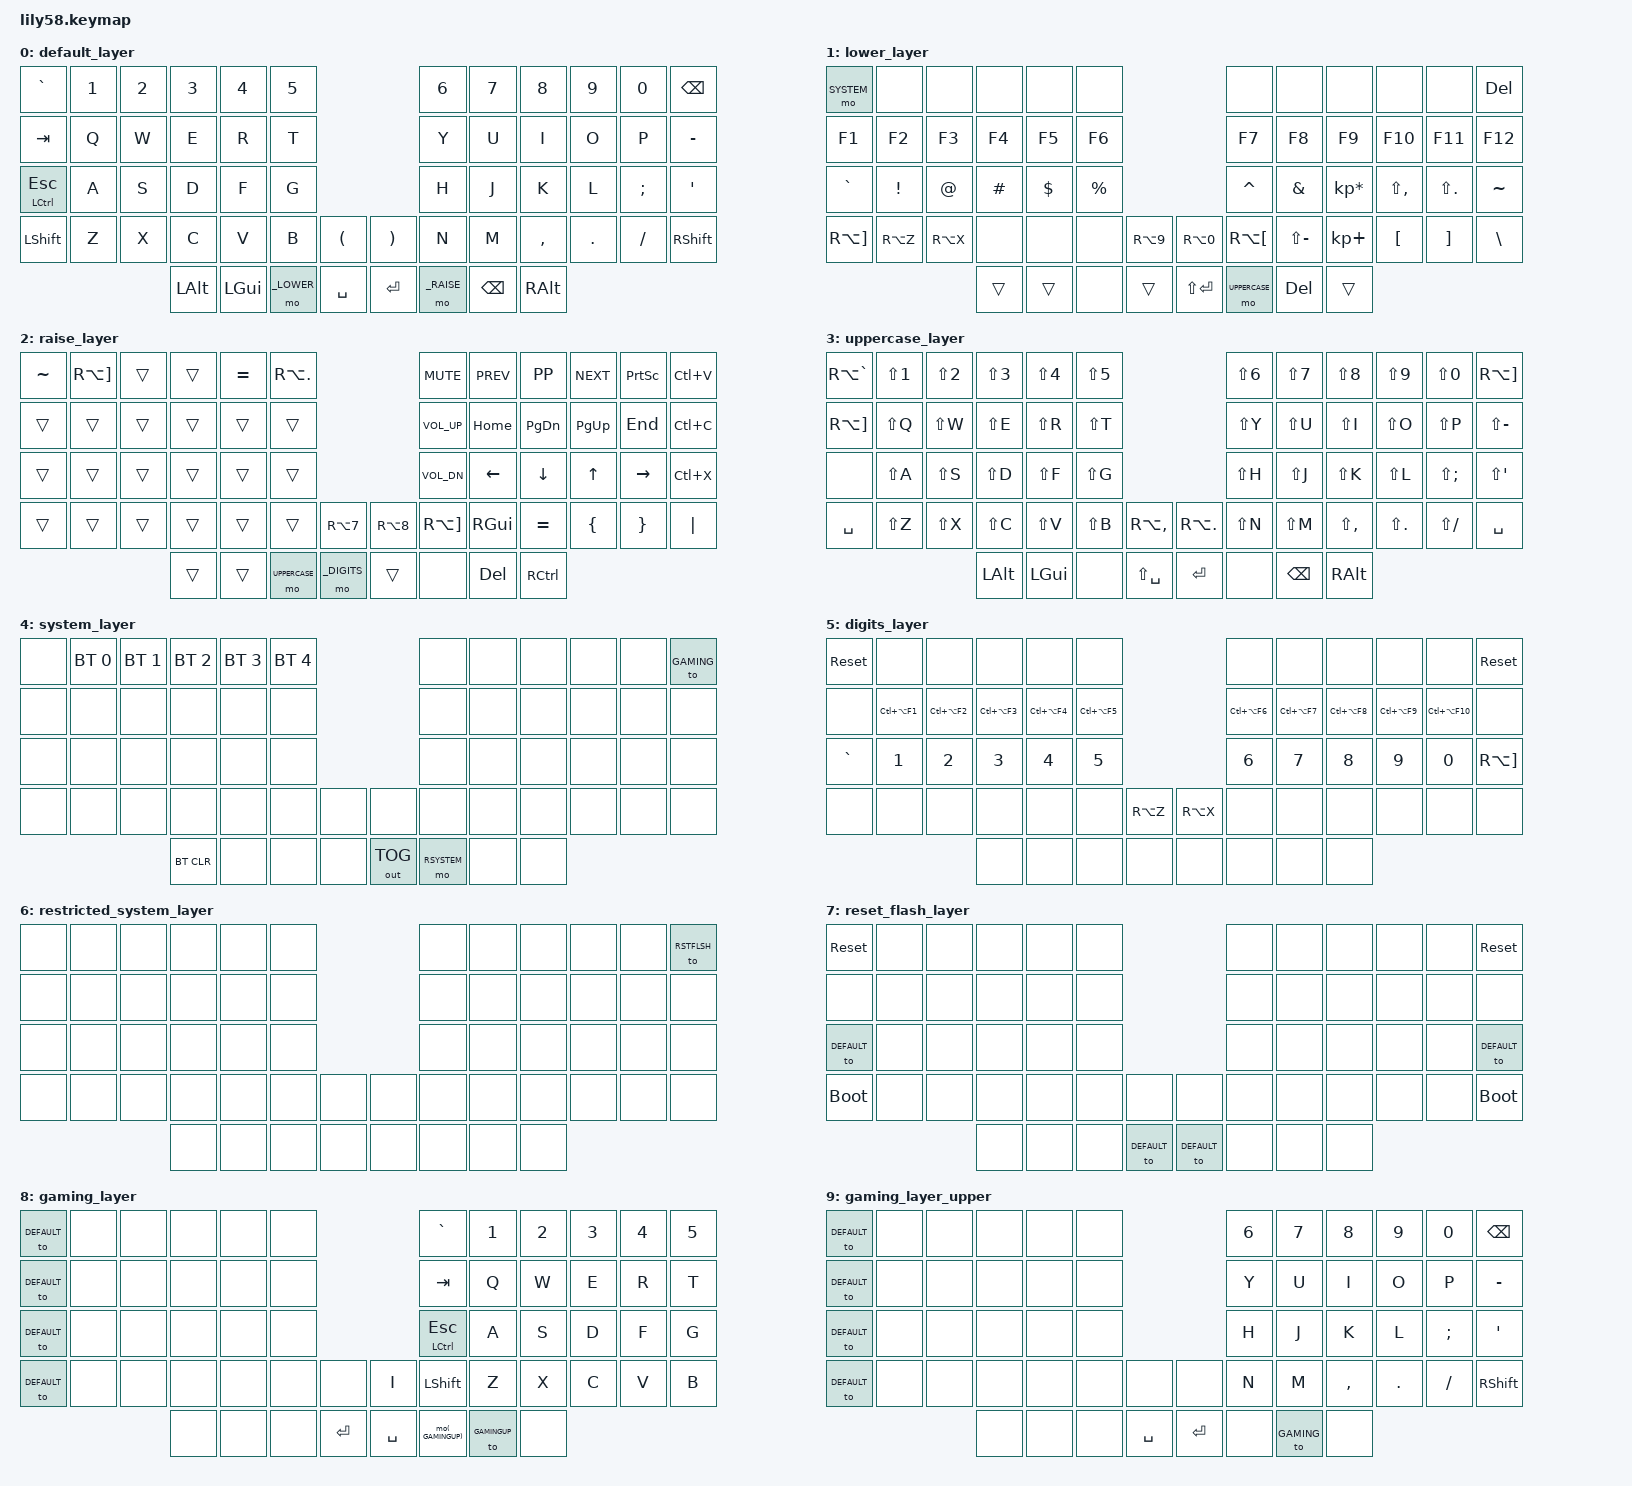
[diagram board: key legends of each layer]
/*
 * Copyright (c) 2020 The ZMK Contributors
 *
 * SPDX-License-Identifier: MIT
 */

#include <behaviors.dtsi>
#include <dt-bindings/zmk/keys.h>
#include <dt-bindings/zmk/bt.h>
#include <dt-bindings/zmk/ext_power.h>
#include <dt-bindings/zmk/outputs.h>

// Layers
#define _DEFAULT	0
#define _LOWER		1
#define _RAISE		2
#define _UPPERCASE	3
#define _SYSTEM		4
#define _DIGITS		5
#define _RSYSTEM	6
#define _RSTFLSH	7
#define _GAMING		8
#define _GAMINGUP	9

/ {
	keymap {
		compatible = "zmk,keymap";

/* default_layer | _DEFAULT
 * ,-----------------------------------------.                    ,-----------------------------------------.
 * |  /   |   1  |   2  |   3  |   4  |   5  |                    |   6  |   7  |   8  |   9  |   0  | BSPC |
 * |------+------+------+------+------+------|                    |------+------+------+------+------+------|
 * | Tab  |   q  |   w  |   e  |   r  |   t  |                    |   y  |   u  |   i  |   o  |   p  |  -   |
 * |------+------+------+------+------+------|                    |------+------+------+------+------+------|
 * | ***1 |   a  |   s  |   d  |   f  |   g  |-------.    ,-------|   h  |   j  |   k  |   l  |   ;  |  è   |
 * |------+------+------+------+------+------|   (   |    |    )  |------+------+------+------+------+------|
 * |LShift|   z  |   x  |   c  |   v  |   b  |-------|    |-------|   n  |   m  |   ,  |   .  |   é  |RShift|
 * `-----------------------------------------/       /     \      \-----------------------------------------'
 *                   | LAlt | LGUI |LOWER | /Space  /       \Enter \  |RAISE |BackSP| RALT |
 *                   |      |      |      |/       /         \      \ |      |      |      |
 *                   `----------------------------'           '------''--------------------'
 * ***1: LCTRL when held, ESC when tapped
 */
 		default_layer {
			bindings = <
&kp GRAVE		&kp N1	&kp N2	&kp N3		&kp N4		&kp N5							&kp N6      &kp N7   &kp N8    &kp N9  &kp N0   &kp BSPC
&kp TAB			&kp Q 	&kp W 	&kp E		&kp R 		&kp T							&kp Y       &kp U    &kp I     &kp O   &kp P    &kp MINUS
&mt LCTRL ESC	&kp A 	&kp S 	&kp D		&kp F 		&kp G							&kp H       &kp J    &kp K     &kp L   &kp SEMI &kp SQT
&kp LSHFT		&kp Z 	&kp X 	&kp C		&kp V 		&kp B       &kp LPAR   &kp RPAR &kp N       &kp M    &kp COMMA &kp DOT &kp FSLH &kp RSHFT
                				&kp LALT	&kp LGUI	&mo _LOWER  &kp SPACE  &kp RET  &mo _RAISE  &kp BSPC &kp RALT
			>;
		};
/* lower_layer | _LOWER 
 * ,-----------------------------------------.                    ,-----------------------------------------.
 * |SYSTEM|      |      |      |      |      |                    |      |      |      |      |      |DELETE|
 * |------+------+------+------+------+------|                    |------+------+------+------+------+------|
 * |  F1  |  F2  |  F3  |  F4  |  F5  |  F6  |                    |  F7  |  F8  |  F9  | F10  | F11  | F12  |
 * |------+------+------+------+------+------|                    |------+------+------+------+------+------|
 * |   /  |   !  |   @  |   #  |   $  |   %  |-------.    ,-------|   ?  |   &  |   *  |   '  |   "  |   \  |
 * |------+------+------+------+------+------|   [   |    |    ]  |------+------+------+------+------+------|
 * |   ~  |   «  |   »  |      |      |      |-------|    |-------|   `  |   _  |   +  |   ^  |   ç  |   à  |
 * `-----------------------------------------/       /     \      \-----------------------------------------'
 *                   |      |      |      | /       /       \SEnter\  |UPPER |DELETE| RALT |
 *                   |      |      |      |/       /         \      \ | -CASE|      |      |
 *                   `----------------------------'           '------''--------------------'
 */
		lower_layer {
			bindings = <
&mo _SYSTEM		&none		&none		&none		&none		&none									&none			&none			&none			&none			&none		&kp DELETE
&kp F1			&kp F2      &kp F3		&kp F4		&kp F5		&kp F6									&kp F7			&kp F8			&kp F9			&kp F10			&kp F11		&kp F12
&kp GRAVE		&kp EXCL    &kp AT		&kp HASH	&kp DOLLAR	&kp PRCNT								&kp CARET		&kp AMPS		&kp KP_MULTIPLY	&kp LS(COMMA)	&kp LS(DOT)	&kp TILDE
&kp RA(RBKT)	&kp RA(Z)	&kp RA(X)	&none		&none		&none		&kp RA(N9)	&kp RA(N0)		&kp RA(LBKT)	&kp LS(MINUS)	&kp KP_PLUS		&kp LBKT		&kp RBKT  	&kp BSLH
                                        &trans		&trans		&none		&trans   	&kp LS(ENTER)	&mo _UPPERCASE	&kp DEL			&trans
			>;
		};
/* raise_layer | _RAISE
 * ,-----------------------------------------.                    ,-----------------------------------------.
 * |   \  |   ~  |      |      |   =  |   >  |                    | Mute | Prev | Play | Next |PRTSCR|Ctrl+V|
 * |------+------+------+------+------+------|                    |------+------+------+------+------+------|
 * |      |      |      |      |      |      |                    | Vol+ | HOME | PgDn | PgUp | END  |Ctrl+C|
 * |------+------+------+------+------+------|                    |------+------+------+------+------+------|
 * |      |      |      |      |      |      |-------.    ,-------| Vol- | Left | Down |  Up  | Right|Ctrl+X|
 * |------+------+------+------+------+------|   {   |    |    }  |------+------+------+------+------+------|
 * |      |      |      |      |      |      |-------|    |-------|   ~  | RGUI |   =  |   ¨  |   Ç  |   À  |
 * `-----------------------------------------/       /     \      \-----------------------------------------'
 *                   |      |      |UPPER | /       /       \      \  |      |DELETE| RCTL |
 *                   |      |      | -CASE|/       /         \      \ |      |      |      |
 *                   `----------------------------'           '------''--------------------'
 */
		raise_layer {
			bindings = <
&kp TILDE	&kp RA(RBKT)	&trans	&trans	&kp EQUAL	&kp RA(DOT)								&kp K_MUTE		&kp K_PREV	&kp K_PP	&kp K_NEXT	&kp PSCRN	&kp LC(V)
&trans		&trans			&trans	&trans	&trans		&trans									&kp K_VOL_UP	&kp HOME	&kp PG_DN	&kp PG_UP	&kp END		&kp LC(C)
&trans		&trans			&trans	&trans	&trans		&trans									&kp K_VOL_DN	&kp LEFT	&kp DOWN	&kp UP		&kp RIGHT	&kp LC(X)
&trans		&trans			&trans	&trans	&trans		&trans			&kp RA(N7)	&kp RA(N8)	&kp RA(RBKT)	&kp RGUI	&kp EQUAL	&kp LBRC	&kp RBRC	&kp PIPE
            	            		&trans	&trans		&mo _UPPERCASE	&mo _DIGITS	&trans		&none			&kp DEL		&kp RCTRL
			>;
		};
/* uppercase
 * ,-----------------------------------------.                    ,-----------------------------------------.
 * |   |  |   !  |   @  |   #  |   $  |   %  |                    |   ?  |   &  |   *  |   (  |   )  |  ~   |
 * |------+------+------+------+------+------|                    |------+------+------+------+------+------|
 * |   ~  |   Q  |   W  |   E  |   R  |   T  |                    |   Y  |   U  |   I  |   O  |   P  |  _   |
 * |------+------+------+------+------+------|                    |------+------+------+------+------+------|
 * |      |   A  |   S  |   D  |   F  |   G  |-------.    ,-------|   H  |   J  |   K  |   L  |   :  |  È   |
 * |------+------+------+------+------+------|   <   |    |    >  |------+------+------+------+------+------|
 * |Space |   Z  |   X  |   C  |   V  |   B  |-------|    |-------|   N  |   M  |   '  |   "  |   É  |Space |
 * `-----------------------------------------/       /     \      \-----------------------------------------'
 *                   | LAlt | LGUI |LOWER | /Space  /       \Enter \  |RAISE |BackSP| RALT |
 *                   |      |      |      |/       /         \      \ |      |      |      |
 *                   `----------------------------'           '------''--------------------'
 */
		uppercase_layer {
			bindings = <
&kp RA(GRAVE)	&kp LS(N1)	&kp LS(N2)	&kp LS(N3)	&kp LS(N4)	&kp LS(N5)								&kp LS(N6)	&kp LS(N7)	&kp LS(N8)		&kp LS(N9)		&kp LS(N0)		&kp RA(RBKT)
&kp RA(RBKT)	&kp LS(Q)	&kp LS(W)	&kp LS(E)	&kp LS(R)	&kp LS(T)								&kp LS(Y)	&kp LS(U)	&kp LS(I)		&kp LS(O)		&kp LS(P)		&kp LS(MINUS)
&none			&kp LS(A)	&kp LS(S)	&kp LS(D)	&kp LS(F)	&kp LS(G)								&kp LS(H)	&kp LS(J)	&kp LS(K)		&kp LS(L)		&kp LS(SEMI)	&kp LS(SQT)
&kp SPACE		&kp LS(Z)	&kp LS(X)	&kp LS(C)	&kp LS(V)	&kp LS(B)	&kp RA(COMMA)	&kp RA(DOT)	&kp LS(N)	&kp LS(M)	&kp LS(COMMA)	&kp LS(DOT)		&kp LS(FSLH)	&kp SPACE
                    					&kp LALT	&kp LGUI	&none		&kp LS(SPACE)	&kp RET		&none		&kp BSPC	&kp RALT
			>;
		};
/* system_layer
 * ,-----------------------------------------.                    ,-----------------------------------------.
 * |      |  BT0 |  BT1 |  BT2 |  BT3 |  BT4 |                    |      |      |      |      |      |      |
 * |------+------+------+------+------+------|                    |------+------+------+------+------+------|
 * |      |      |      |      |      |      |                    |      |      |      |      |      |      |
 * |------+------+------+------+------+------|                    |------+------+------+------+------+------|
 * |      |      |      |      |      |      |-------.    ,-------|      |      |      |      |      |      |
 * |------+------+------+------+------+------|       |    |       |------+------+------+------+------+------|
 * |      |      |      |      |      |      |-------|    |-------|      |      |      |      |      |      |
 * `-----------------------------------------/       /     \TOGGLE\-----------------------------------------'
 *                   |BT_CLR|      |      | /       /       \  BT  \  |RSTRCT|      |      |
 *                   |      |      |      |/       /         \  USB \ |SYSTEM|      |      |
 *                   `----------------------------'           '------''--------------------'
 */
		system_layer {
			bindings = <
&none	&bt BT_SEL 0    &bt BT_SEL 1	&bt BT_SEL 2	&bt BT_SEL 3	&bt BT_SEL 4							&none			&none	&none	&none	&none	&to _GAMING
&none	&none			&none			&none			&none			&none									&none			&none	&none	&none	&none	&none
&none	&none			&none			&none			&none			&none									&none			&none	&none	&none	&none	&none
&none	&none			&none			&none			&none			&none			&none	&none			&none			&none	&none	&none	&none	&none
	      	        					&bt BT_CLR		&none			&none			&none	&out OUT_TOG	&mo _RSYSTEM	&none	&none
			>;
		};
/* digits_layer
 * ,-----------------------------------------.                    ,-----------------------------------------.
 * |RESET |      |      |      |      |      |                    |      |      |      |      |      | RESET|
 * |------+------+------+------+------+------|                    |------+------+------+------+------+------|
 * |      | TTY1 | TTY2 | TTY3 | TTY4 | TTY5 |                    | TTY6 | TTY7 | TTY8 | TTY9 | TTY0 |      |
 * |------+------+------+------+------+------|                    |------+------+------+------+------+------|
 * |   /  |   1  |   2  |   3  |   4  |   5  |-------.    ,-------|   6  |   7  |   8  |   9  |   0  |   ~  |
 * |------+------+------+------+------+------|   «   |    |   »   |------+------+------+------+------+------|
 * |      |      |      |      |      |      |-------|    |-------|      |      |      |      |      |      |
 * `-----------------------------------------/       /     \      \-----------------------------------------'
 *                   |      |      |      | /       /       \      \  |      |      |      |
 *                   |      |      |      |/       /         \      \ |      |      |      |
 *                   `----------------------------'           '------''--------------------'
 */
		digits_layer {
			bindings = <
&sys_reset	&none			&none			&none			&none			&none									&none			&none			&none			&none			&none			&sys_reset
&none 		&kp LC(LA(F1))	&kp LC(LA(F2))	&kp LC(LA(F3))	&kp LC(LA(F4))	&kp LC(LA(F5)) 							&kp LC(LA(F6))	&kp LC(LA(F7))	&kp LC(LA(F8))	&kp LC(LA(F9))	&kp LC(LA(F10))	&none
&kp GRAVE	&kp N1			&kp N2			&kp N3			&kp N4			&kp N5									&kp N6			&kp N7			&kp N8			&kp N9  		&kp N0			&kp RA(RBKT)
&none		&none			&none			&none			&none			&none			&kp RA(Z)	&kp RA(X)	&none			&none			&none			&none			&none			&none
            	        					&none			&none			&none			&none		&none		&none			&none			&none
			>;
		};
/* restricted_system_layer
 * ,-----------------------------------------.                    ,-----------------------------------------.
 * |      |      |      |      |      |      |                    |      |      |      |      |      |RSTFLS|
 * |------+------+------+------+------+------|                    |------+------+------+------+------+------|
 * |      |      |      |      |      |      |                    |      |      |      |      |      |      |
 * |------+------+------+------+------+------|                    |------+------+------+------+------+------|
 * |      |      |      |      |      |      |-------.    ,-------|      |      |      |      |      |      |
 * |------+------+------+------+------+------|       |    |       |------+------+------+------+------+------|
 * |      |      |      |      |      |      |-------|    |-------|      |      |      |      |      |      |
 * `-----------------------------------------/       /     \      \-----------------------------------------'
 *                   |      |      |      | /       /       \      \  |      |      |      |
 *                   |      |      |      |/       /         \      \ |      |      |      |
 *                   `----------------------------'           '------''--------------------'
 */
		restricted_system_layer {
			bindings = <
&none	&none	&none	&none	&none	&none					&none	&none	&none		&none	&none	&to _RSTFLSH
&none	&none	&none	&none	&none	&none					&none	&none	&none		&none	&none	&none
&none	&none	&none	&none	&none	&none					&none	&none	&none		&none	&none	&none
&none	&none	&none	&none	&none	&none	&none	&none	&none	&none	&none		&none	&none	&none
                    	&none	&none	&none	&none	&none	&none	&none	&none
			>;
		};
/* reset_flash_layer
 * ,-----------------------------------------.                    ,-----------------------------------------.
 * | RESET|      |      |      |      |      |                    |      |      |      |      |      |RESET |
 * |------+------+------+------+------+------|                    |------+------+------+------+------+------|
 * |      |      |      |      |      |      |                    |      |      |      |      |      |      |
 * |------+------+------+------+------+------|                    |------+------+------+------+------+------|
 * | DFLT |      |      |      |      |      |-------.    ,-------|      |      |      |      |      | DFLT |
 * |------+------+------+------+------+------|       |    |       |------+------+------+------+------+------|
 * | FLASH|      |      |      |      |      |-------|    |-------|      |      |      |      |      |FLASH |
 * `-----------------------------------------/       /     \      \-----------------------------------------'
 *                   |      |      |      | / DFLT  /       \ DFLT \  |      |      |      |
 *                   |      |      |      |/       /         \      \ |      |      |      |
 *                   `----------------------------'           '------''--------------------'
 */
		reset_flash_layer {
			bindings = <
&sys_reset		&none	&none	&none	&none	&none									&none	&none	&none	&none	&none	&sys_reset
&none			&none	&none	&none	&none	&none									&none	&none	&none	&none	&none	&none
&to _DEFAULT	&none	&none	&none	&none	&none									&none	&none	&none	&none	&none	&to _DEFAULT
&bootloader		&none	&none	&none	&none	&none	&none			&none			&none	&none	&none	&none	&none	&bootloader
                    			&none	&none	&none	&to _DEFAULT	&to _DEFAULT	&none	&none	&none
			>;
		};
/* gaming_layer
 * ,-----------------------------------------.                    ,-----------------------------------------.
 * | DFLT |      |      |      |      |      |                    |      |      |      |      |      |      |
 * |------+------+------+------+------+------|                    |------+------+------+------+------+------|
 * | DFLT |      |      |      |      |      |                    |      |      |      |      |      |      |
 * |------+------+------+------+------+------|                    |------+------+------+------+------+------|
 * | DFLT |      |      |      |      |      |-------.    ,-------|      |      |      |      |      |      |
 * |------+------+------+------+------+------|       |    |       |------+------+------+------+------+------|
 * | DFLT |      |      |      |      |      |-------|    |-------|      |      |      |      |      |      |
 * `-----------------------------------------/       /     \      \-----------------------------------------'
 *                   |      |      |      | /       /       \ SPACE\  |      |      |      |
 *                   |      |      |      |/       /         \      \ |      |      |      |
 *                   `----------------------------'           '------''--------------------'
 */
				gaming_layer {
			bindings = <
&to _DEFAULT	&none	&none	&none	&none	&none							&kp GRAVE		&kp N1			&kp N2	&kp N3		&kp N4		&kp N5
&to _DEFAULT	&none	&none	&none	&none	&none							&kp TAB			&kp Q 			&kp W 	&kp E		&kp R 		&kp T
&to _DEFAULT	&none	&none	&none	&none	&none							&mt LCTRL ESC	&kp A 			&kp S 	&kp D		&kp F 		&kp G
&to _DEFAULT	&none	&none	&none	&none	&none	&none		&kp I		&kp LSHFT		&kp Z 			&kp X 	&kp C		&kp V 		&kp B
            	    			&none	&none	&none	&kp ENTER	&kp SPACE	&mo(_GAMINGUP)	&to _GAMINGUP	&none
			>;
		};
/* gaming_layer_upper
 * ,-----------------------------------------.                    ,-----------------------------------------.
 * | DFLT |      |      |      |      |      |                    |      |      |      |      |      |      |
 * |------+------+------+------+------+------|                    |------+------+------+------+------+------|
 * | DFLT |      |      |      |      |      |                    |      |      |      |      |      |      |
 * |------+------+------+------+------+------|                    |------+------+------+------+------+------|
 * | DFLT |      |      |      |      |      |-------.    ,-------|      |      |      |      |      |      |
 * |------+------+------+------+------+------|       |    |       |------+------+------+------+------+------|
 * | DFLT |      |      |      |      |      |-------|    |-------|      |      |      |      |      |      |
 * `-----------------------------------------/       /     \      \-----------------------------------------'
 *                   |      |      |      | /       /       \ ENTER\  |      |      |      |
 *                   |      |      |      |/       /         \      \ |      |      |      |
 *                   `----------------------------'           '------''--------------------'
 */
				gaming_layer_upper {
			bindings = <
&to _DEFAULT	&none	&none	&none	&none	&none							&kp N6      &kp N7   	&kp N8    &kp N9  &kp N0   &kp BSPC
&to _DEFAULT	&none	&none	&none	&none	&none							&kp Y       &kp U    	&kp I     &kp O   &kp P    &kp MINUS
&to _DEFAULT	&none	&none	&none	&none	&none							&kp H       &kp J    	&kp K     &kp L   &kp SEMI &kp SQT
&to _DEFAULT	&none	&none	&none	&none	&none	&none		&none		&kp N       &kp M    	&kp COMMA &kp DOT &kp FSLH &kp RSHFT
            	    			&none	&none	&none	&kp SPACE	&kp ENTER	&none		&to _GAMING	&none
			>;
		};
	};
};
